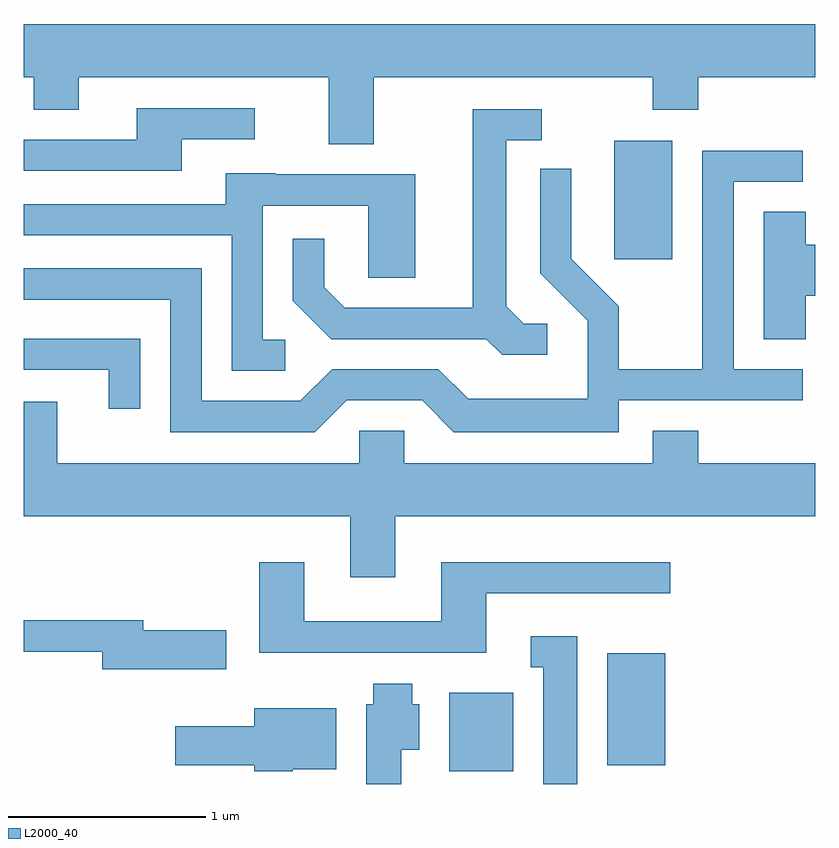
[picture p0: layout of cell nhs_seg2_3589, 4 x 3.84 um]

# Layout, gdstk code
import gdstk
lib = gdstk.Library(unit=1e-6, precision=1e-09)
def R(c, l, rs):  # rectangles x0, y0, x1, y1
    for r in rs: c.add(gdstk.rectangle(r[:2], r[2:], *l))
def P(c, l, *ps):  # polygons
    for p in ps: c.add(gdstk.Polygon(p, *l))
L2000_40 = (2000, 40)

nhs_seg2_3589 = lib.new_cell('nhs_seg2_3589')
R(nhs_seg2_3589, L2000_40, [(291.761,1095.866,292.084,1096.264), (292.561,1095.896,292.854,1096.464), (292.596,1098.456,292.889,1099.054)])
P(nhs_seg2_3589, L2000_40, [(291.379,1099.376),(292.791,1099.376),(292.791,1099.211),(293.019,1099.211),(293.019,1099.376),(293.611,1099.376),(293.611,1099.644),(289.611,1099.644),(289.611,1099.376),(289.661,1099.376),(289.661,1099.211),(289.889,1099.211),(289.889,1099.376),(291.151,1099.376),(291.151,1099.036),(291.379,1099.036)],
  [(290.409,1099.061),(290.778,1099.061),(290.778,1099.219),(290.181,1099.219),(290.181,1099.059),(289.611,1099.059),(289.611,1098.901),(290.409,1098.901)],
  [(292.258,1098.129),(292.137,1098.129),(292.049,1098.217),(292.049,1099.056),(292.228,1099.056),(292.228,1099.214),(291.881,1099.214),(291.881,1098.209),(291.232,1098.209),(291.129,1098.312),(291.129,1098.558),(290.971,1098.558),(290.971,1098.244),(291.164,1098.051),(291.949,1098.051),(292.029,1097.971),(292.258,1097.971)],
  [(291.242,1097.741),(291.624,1097.741),(291.784,1097.581),(292.619,1097.581),(292.619,1097.741),(293.548,1097.741),(293.548,1097.899),(293.199,1097.899),(293.199,1098.846),(293.548,1098.846),(293.548,1099.004),(293.041,1099.004),(293.041,1097.899),(292.619,1097.899),(292.619,1098.217),(292.379,1098.457),(292.379,1098.913),(292.221,1098.913),(292.221,1098.384),(292.461,1098.144),(292.461,1097.749),(291.857,1097.749),(291.707,1097.899),(291.169,1097.899),(291.009,1097.739),(290.509,1097.739),(290.509,1098.409),(289.611,1098.409),(289.611,1098.251),(290.351,1098.251),(290.351,1097.581),(291.082,1097.581)],
  [(290.933,1098.049),(290.819,1098.049),(290.819,1098.726),(291.351,1098.726),(291.351,1098.361),(291.589,1098.361),(291.589,1098.884),(290.885,1098.884),(290.885,1098.889),(290.631,1098.889),(290.631,1098.734),(289.611,1098.734),(289.611,1098.576),(290.661,1098.576),(290.661,1097.891),(290.933,1097.891)],
  [(293.564,1098.271),(293.611,1098.271),(293.611,1098.529),(293.564,1098.529),(293.564,1098.694),(293.351,1098.694),(293.351,1098.051),(293.564,1098.051)],
  [(290.199,1098.054),(289.611,1098.054),(289.611,1097.896),(290.041,1097.896),(290.041,1097.698),(290.199,1097.698)],
  [(291.489,1097.156),(293.611,1097.156),(293.611,1097.424),(293.019,1097.424),(293.019,1097.589),(292.791,1097.589),(292.791,1097.424),(291.534,1097.424),(291.534,1097.589),(291.306,1097.589),(291.306,1097.424),(289.779,1097.424),(289.779,1097.734),(289.611,1097.734),(289.611,1097.156),(291.261,1097.156),(291.261,1096.846),(291.489,1096.846)],
  [(291.949,1096.766),(292.878,1096.766),(292.878,1096.924),(291.721,1096.924),(291.721,1096.624),(291.029,1096.624),(291.029,1096.924),(290.801,1096.924),(290.801,1096.466),(291.949,1096.466)],
  [(290.634,1096.579),(290.214,1096.579),(290.214,1096.629),(289.611,1096.629),(289.611,1096.471),(290.006,1096.471),(290.006,1096.381),(290.634,1096.381)],
  [(292.409,1096.549),(292.173,1096.549),(292.173,1096.391),(292.236,1096.391),(292.236,1095.802),(292.409,1095.802)],
  [(291.519,1095.976),(291.609,1095.976),(291.609,1096.204),(291.574,1096.204),(291.574,1096.309),(291.376,1096.309),(291.376,1096.204),(291.341,1096.204),(291.341,1095.802),(291.519,1095.802)],
  [(290.97,1095.876),(291.189,1095.876),(291.189,1096.184),(290.776,1096.184),(290.776,1096.094),(290.376,1096.094),(290.376,1095.896),(290.776,1095.896),(290.776,1095.866),(290.97,1095.866)])

lib.write_gds('nhs_seg2_3589.gds')
